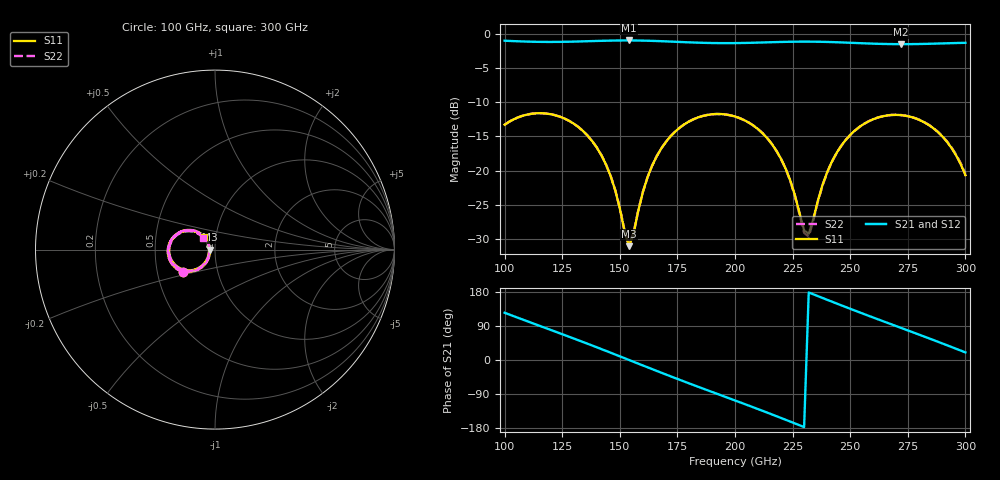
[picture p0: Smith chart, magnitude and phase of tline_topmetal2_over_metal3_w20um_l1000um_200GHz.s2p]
#  GHZ S DB R 50
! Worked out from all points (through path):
!   101 points, 100 GHz to 300 GHz, reference 50 ohm
!   highest |S21| = -0.93 dB at 154 GHz (marker M1); lowest = -1.5 dB at 272 GHz (marker M2)
!   group delay of S21, straight-line fit = 6.47 ps
!   lowest |S11| = -31.1 dB at 154 GHz (marker M3), VSWR 1.06, Z = 47.3 - j0.00515 ohm
!   |S11| at or under -10 dB: start of sweep to end of sweep
!   |S22| runs from -30.9 to -11.6 dB; largest |S21 - S12| = 1.6e-13
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100  -13.28 -144.8  -0.97 124.7  -0.97 124.7  -13.28 -144.5
116  -11.59 -177.8  -1.14 88.4  -1.14 88.4  -11.59 -177.5
124  -12.11 165.9  -1.14 70.4  -1.14 70.4  -12.10 166.2
134  -14.19 146.2  -1.06 47.5  -1.06 47.5  -14.18 146.5
146  -20.78 128.9  -0.95 19.3  -0.95 19.3  -20.76 129.4
154  -31.08 -179.9  -0.93 0.1  -0.93 0.1  -30.89 -179.8
162  -21.02 -123.8  -0.97 -19.2  -0.97 -19.2  -21.00 -124.0
168  -16.76 -130.1  -1.04 -33.5  -1.04 -33.5  -16.76 -130.2
184  -12.21 -160.2  -1.26 -70.6  -1.26 -70.6  -12.20 -160.2
200  -12.08 168.0  -1.32 -106.8  -1.32 -106.8  -12.08 167.9
218  -17.10 135.6  -1.17 -148.3  -1.17 -148.3  -17.12 135.4
224  -21.47 131.8  -1.12 -162.6  -1.12 -162.6  -21.53 131.1
230  -28.77 162.0  -1.10 -177.0  -1.10 -177.0  -29.12 161.3
232  -29.27 -167.3  -1.10 178.2  -1.10 178.2  -29.67 -166.3
234  -27.07 -143.6  -1.11 173.4  -1.11 173.4  -27.31 -141.8
240  -20.24 -128.0  -1.15 158.9  -1.15 158.9  -20.29 -126.7
246  -16.42 -134.0  -1.22 144.6  -1.22 144.6  -16.43 -133.0
258  -12.78 -155.4  -1.38 116.7  -1.38 116.7  -12.78 -154.4
268  -11.85 -174.9  -1.46 93.9  -1.46 93.9  -11.84 -173.9
272  -11.87 177.2  -1.47 84.9  -1.47 84.9  -11.86 178.3
288  -14.33 146.7  -1.38 48.3  -1.38 48.3  -14.30 148.3
300  -20.66 131.7  -1.28 20.0  -1.28 20.0  -20.47 135.0
